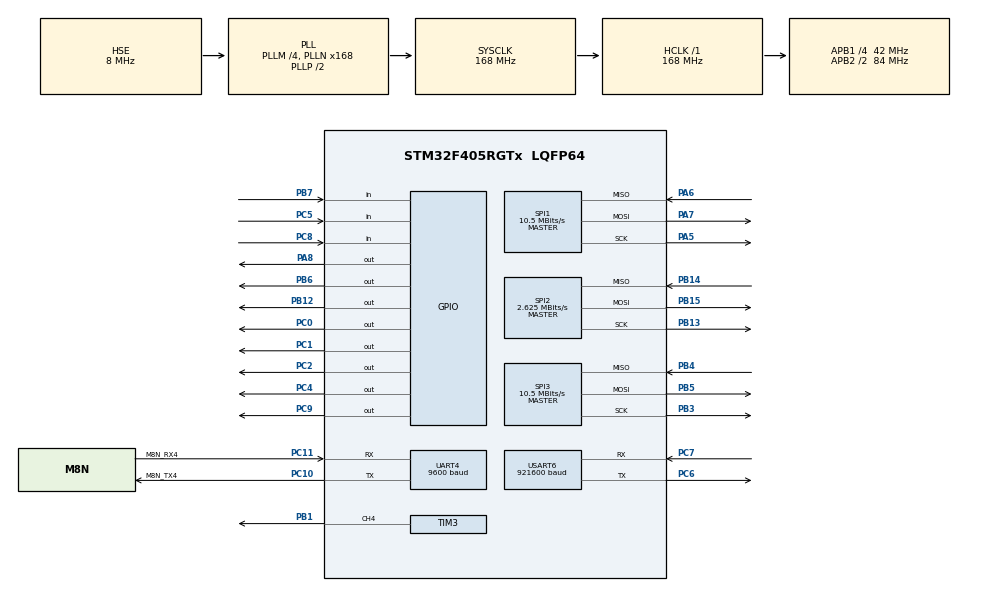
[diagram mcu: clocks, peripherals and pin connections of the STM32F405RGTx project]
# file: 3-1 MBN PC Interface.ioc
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Mcu.Family=STM32F4
Mcu.Name=STM32F405RGTx
Mcu.Package=LQFP64
NVIC.PriorityGroup=NVIC_PRIORITYGROUP_4
NVIC.UART4_IRQn=true\:0\:0\:false\:false\:true\:true\:true
NVIC.USART6_IRQn=true\:0\:0\:false\:false\:true\:true\:true
PA5.Mode=Full_Duplex_Master
PA5.Signal=SPI1_SCK
PA6.Mode=Full_Duplex_Master
PA6.Signal=SPI1_MISO
PA7.Mode=Full_Duplex_Master
PA7.Signal=SPI1_MOSI
PA8.Signal=GPIO_Output
PB1.Signal=S_TIM3_CH4
PB12.Signal=GPIO_Output
PB13.Mode=Full_Duplex_Master
PB13.Signal=SPI2_SCK
PB14.Mode=Full_Duplex_Master
PB14.Signal=SPI2_MISO
PB15.Mode=Full_Duplex_Master
PB15.Signal=SPI2_MOSI
PB3.Mode=Full_Duplex_Master
PB3.Signal=SPI3_SCK
PB4.Mode=Full_Duplex_Master
PB4.Signal=SPI3_MISO
PB5.Mode=Full_Duplex_Master
PB5.Signal=SPI3_MOSI
PB6.Signal=GPIO_Output
PB7.Signal=GPIO_Input
PC0.Signal=GPIO_Output
PC1.Signal=GPIO_Output
PC10.GPIO_Label=M8N_TX4
PC10.Mode=Asynchronous
PC10.Signal=UART4_TX
PC11.GPIO_Label=M8N_RX4
PC11.Mode=Asynchronous
PC11.Signal=UART4_RX
PC2.Signal=GPIO_Output
PC4.Signal=GPIO_Output
PC5.Signal=GPIO_Input
PC6.Mode=Asynchronous
PC6.Signal=USART6_TX
PC7.Mode=Asynchronous
PC7.Signal=USART6_RX
PC8.Signal=GPIO_Input
PC9.Signal=GPIO_Output
PH0-OSC_IN.Mode=HSE-External-Oscillator
PH0-OSC_IN.Signal=RCC_OSC_IN
PH1-OSC_OUT.Mode=HSE-External-Oscillator
PH1-OSC_OUT.Signal=RCC_OSC_OUT
ProjectManager.HeapSize=0x200
ProjectManager.StackSize=0x400
ProjectManager.TargetToolchain=STM32CubeIDE
RCC.48MHZClocksFreq_Value=84000000
RCC.AHBFreq_Value=168000000
RCC.APB1CLKDivider=RCC_HCLK_DIV4
RCC.APB1Freq_Value=42000000
RCC.APB1TimFreq_Value=84000000
RCC.APB2CLKDivider=RCC_HCLK_DIV2
RCC.APB2Freq_Value=84000000
RCC.APB2TimFreq_Value=168000000
RCC.CortexFreq_Value=168000000
RCC.HCLKFreq_Value=168000000
RCC.HSE_VALUE=8000000
RCC.HSI_VALUE=16000000
RCC.LSE_VALUE=32768
RCC.PLLM=4
RCC.PLLN=168
RCC.PLLSourceVirtual=RCC_PLLSOURCE_HSE
RCC.SYSCLKFreq_VALUE=168000000
RCC.SYSCLKSource=RCC_SYSCLKSOURCE_PLLCLK
RCC.VCOOutputFreq_Value=336000000
SH.S_TIM3_CH4.0=TIM3_CH4,PWM Generation4 CH4
SPI1.BaudRatePrescaler=SPI_BAUDRATEPRESCALER_8
SPI1.CLKPhase=SPI_PHASE_2EDGE
SPI1.CLKPolarity=SPI_POLARITY_HIGH
SPI1.CalculateBaudRate=10.5 MBits/s
SPI1.Direction=SPI_DIRECTION_2LINES
SPI1.Mode=SPI_MODE_MASTER
SPI1.VirtualType=VM_MASTER
SPI2.BaudRatePrescaler=SPI_BAUDRATEPRESCALER_16
SPI2.CLKPhase=SPI_PHASE_2EDGE
SPI2.CLKPolarity=SPI_POLARITY_HIGH
SPI2.CalculateBaudRate=2.625 MBits/s
SPI2.Direction=SPI_DIRECTION_2LINES
SPI2.Mode=SPI_MODE_MASTER
SPI2.VirtualType=VM_MASTER
SPI3.BaudRatePrescaler=SPI_BAUDRATEPRESCALER_4
SPI3.CLKPhase=SPI_PHASE_2EDGE
SPI3.CLKPolarity=SPI_POLARITY_HIGH
SPI3.CalculateBaudRate=10.5 MBits/s
SPI3.Direction=SPI_DIRECTION_2LINES
SPI3.Mode=SPI_MODE_MASTER
SPI3.VirtualType=VM_MASTER
TIM3.AutoReloadPreload=TIM_AUTORELOAD_PRELOAD_ENABLE
TIM3.Channel-PWM\ Generation4\ CH4=TIM_CHANNEL_4
TIM3.OCFastMode_PWM-PWM\ Generation4\ CH4=TIM_OCFAST_ENABLE
TIM3.Period=20
TIM3.Prescaler=999
TIM3.Pulse-PWM\ Generation4\ CH4=10
UART4.BaudRate=9600
UART4.VirtualMode=Asynchronous
USART6.BaudRate=921600
USART6.VirtualMode=VM_ASYNC
VP_TIM3_VS_ClockSourceINT.Mode=Internal
board=custom

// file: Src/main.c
/* USER CODE BEGIN Header */
/**
  ******************************************************************************
  * @file           : main.c
  * @brief          : Main program body
  ******************************************************************************
  * @attention
  *
  * <h2><center>&copy; Copyright (c) 2019 STMicroelectronics.
  * All rights reserved.</center></h2>
  *
  * This software component is licensed by ST under BSD 3-Clause license,
  * the "License"; You may not use this file except in compliance with the
  * License. You may obtain a copy of the License at:
  *                        opensource.org/licenses/BSD-3-Clause
  *
  ******************************************************************************
  */
/* USER CODE END Header */

#include "main.h"
#include "spi.h"
#include "tim.h"
#include "usart.h"
#include "gpio.h"

/* USER CODE BEGIN Includes */
#include "BNO080.h"
#include "Quaternion.h"
#include "ICM20602.h"
#include "LPS22HH.h"
#include <stdio.h>

/* USER CODE END Includes */

/* USER CODE BEGIN PM */
int _write(int file, char *ptr, int len)
{
	for(int i=0; i<len; i++) {
		LL_USART_TransmitData8(USART6, ptr[i]);
		HAL_Delay(1);
	}
	return len;
}
/* USER CODE END PM */

/* USER CODE BEGIN PV */
extern uint8_t usart6_rx_flag;
extern uint8_t usart6_rx_data;
extern Struct_ICM20602 ICM20602;
/* USER CODE END PV */

void SystemClock_Config(void);

int main(void)
{
  /* USER CODE BEGIN 1 */
	float q[4];
	float quatRadianAccuracy;
  /* USER CODE END 1 */

  /* MCU Configuration--------------------------------------------------------*/

  /* Reset of all peripherals, Initializes the Flash interface and the Systick. */
  HAL_Init();

  /* Configure the system clock */
  SystemClock_Config();

  /* Initialize all configured peripherals */
  MX_GPIO_Init();
  MX_TIM3_Init();
  MX_USART6_UART_Init();
  MX_SPI2_Init();
  MX_SPI1_Init();
  MX_SPI3_Init();
  MX_UART4_Init();
  /* USER CODE BEGIN 2 */
  LL_TIM_EnableCounter(TIM3);
  LL_TIM_CC_EnableChannel(TIM3, LL_TIM_CHANNEL_CH4);

  TIM3->PSC = 2000;
  HAL_Delay(100);
  TIM3->PSC = 1500;
  HAL_Delay(100);
  TIM3->PSC = 1000;
  HAL_Delay(100);

  LL_TIM_CC_DisableChannel(TIM3, LL_TIM_CHANNEL_CH4);
  LL_USART_EnableIT_RXNE(USART6);
  LL_USART_EnableIT_RXNE(UART4);

  BNO080_Initialization();
  BNO080_enableRotationVector(2500);

  ICM20602_Initialization();
  LPS22HH_Initialization();
  /* USER CODE END 2 */

  /* Infinite loop */
  while (1)
  {

    /* USER CODE BEGIN 3 */
	  // LL_GPIO_TogglePin(GPIOC, LL_GPIO_PIN_0 | LL_GPIO_PIN_1 | LL_GPIO_PIN_2);
	  // HAL_Delay(500);
	  // LL_USART_TransmitData8(USART6, 'a');
	  // HAL_Delay(1000);
//	  if(usart6_rx_flag) {
//		  LL_USART_TransmitData8(USART6, usart6_rx_data);
//		  usart6_rx_flag = 0;
//
//		  switch(usart6_rx_data) {
//		  case '0':
//			  LL_GPIO_TogglePin(GPIOC, LL_GPIO_PIN_0 | LL_GPIO_PIN_1 | LL_GPIO_PIN_2);
//			  break;
//		  case '1':
//			  LL_TIM_CC_EnableChannel(TIM3, LL_TIM_CHANNEL_CH4);
//			  break;
//		  case '2':
//			  LL_TIM_CC_DisableChannel(TIM3, LL_TIM_CHANNEL_CH4);
//			  break;
//		  }
//	  }

//	  if(BNO080_dataAvailable()) { // 400Hz
//		  LL_GPIO_TogglePin(GPIOC, LL_GPIO_PIN_0);
//
//		  q[0] = BNO080_getQuatI();
//		  q[1] = BNO080_getQuatJ();
//		  q[2] = BNO080_getQuatK();
//		  q[3] = BNO080_getQuatReal(); // 100us
//
//		  quatRadianAccuracy = BNO080_getQuatAccuracy();
//
//		  Quaternion_Update(&q[0]); // 35us

//		   printf("%d, %d, %d\n", (int)(BNO080_Roll), (int)(BNO080_Pitch), (int)(BNO080_Yaw));
//	   }

//	  if(ICM20602_DataReady() == 1) {
//		  ICM20602_Get3AxisGyroRawData(&ICM20602.gyro_x_raw);
//
//		  printf("%d, %d, %d\n", ICM20602.gyro_x_raw, ICM20602.gyro_y_raw, ICM20602.gyro_z_raw);
//	  }

//	  if(LPS22HH_DataReady()) {
//		  LPS22HH_GetPressure(&LPS22HH.pressure_raw);
//		  LPS22HH_GetTemperature(&LPS22HH.temperature_raw);
//
//		  LPS22HH.baroAlt = getAltitude2(LPS22HH.pressure_raw/4096.f, LPS22HH.temperature_raw/100.f);
//
//#define X 0.8f
//		  LPS22HH.baroAltFilt = LPS22HH.baroAltFilt * X + LPS22HH.baroAlt * (1.0f - X);
//		  printf("%d, %d\r\n", (int)(LPS22HH.baroAlt * 100), (int)(LPS22HH.baroAltFilt * 100));
//	  }

  }
  /* USER CODE END 3 */
}

void SystemClock_Config(void)
{
  RCC_OscInitTypeDef RCC_OscInitStruct = {0};
  RCC_ClkInitTypeDef RCC_ClkInitStruct = {0};

  /** Configure the main internal regulator output voltage
  */
  __HAL_RCC_PWR_CLK_ENABLE();
  __HAL_PWR_VOLTAGESCALING_CONFIG(PWR_REGULATOR_VOLTAGE_SCALE1);
  /** Initializes the CPU, AHB and APB busses clocks
  */
  RCC_OscInitStruct.OscillatorType = RCC_OSCILLATORTYPE_HSE;
  RCC_OscInitStruct.HSEState = RCC_HSE_ON;
  RCC_OscInitStruct.PLL.PLLState = RCC_PLL_ON;
  RCC_OscInitStruct.PLL.PLLSource = RCC_PLLSOURCE_HSE;
  RCC_OscInitStruct.PLL.PLLM = 4;
  RCC_OscInitStruct.PLL.PLLN = 168;
  RCC_OscInitStruct.PLL.PLLP = RCC_PLLP_DIV2;
  RCC_OscInitStruct.PLL.PLLQ = 4;
  if (HAL_RCC_OscConfig(&RCC_OscInitStruct) != HAL_OK)
  {
    Error_Handler();
  }
  /** Initializes the CPU, AHB and APB busses clocks
  */
  RCC_ClkInitStruct.ClockType = RCC_CLOCKTYPE_HCLK|RCC_CLOCKTYPE_SYSCLK
                              |RCC_CLOCKTYPE_PCLK1|RCC_CLOCKTYPE_PCLK2;
  RCC_ClkInitStruct.SYSCLKSource = RCC_SYSCLKSOURCE_PLLCLK;
  RCC_ClkInitStruct.AHBCLKDivider = RCC_SYSCLK_DIV1;
  RCC_ClkInitStruct.APB1CLKDivider = RCC_HCLK_DIV4;
  RCC_ClkInitStruct.APB2CLKDivider = RCC_HCLK_DIV2;

  if (HAL_RCC_ClockConfig(&RCC_ClkInitStruct, FLASH_LATENCY_5) != HAL_OK)
  {
    Error_Handler();
  }
}

void Error_Handler(void)
{
}

/************************ (C) COPYRIGHT STMicroelectronics *****END OF FILE****/
